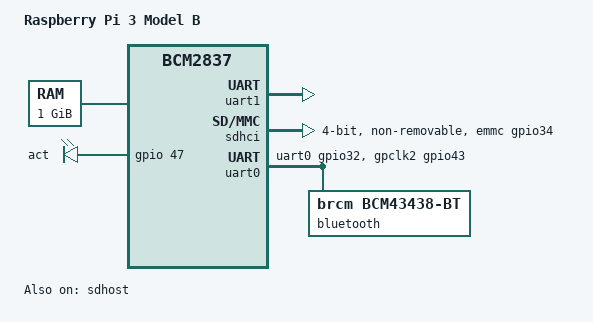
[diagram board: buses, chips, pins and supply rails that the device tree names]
/dts-v1/;
#include "bcm2837.dtsi"
#include "bcm2835-rpi.dtsi"
#include "bcm283x-rpi-smsc9514.dtsi"
#include "bcm283x-rpi-usb-host.dtsi"

/ {
	compatible = "raspberrypi,3-model-b", "brcm,bcm2837";
	model = "Raspberry Pi 3 Model B";

	chosen {
		/* BCM2835 8250 auxiliar UART instead of pl011 */
		bootargs = "console=ttyS0,115200 earlycon";
	};

	memory {
		reg = <0 0x40000000>;
	};

	leds {
		act {
			gpios = <&gpio 47 0>;
		};
	};
};

&uart1 {
	status = "okay";
};

/* SDHCI is used to control the SDIO for wireless */
&sdhci {
	pinctrl-names = "default";
	pinctrl-0 = <&emmc_gpio34>;
	status = "okay";
	bus-width = <4>;
	non-removable;
};

/* SDHOST is used to drive the SD card */
&sdhost {
	pinctrl-names = "default";
	pinctrl-0 = <&sdhost_gpio48>;
	status = "okay";
	bus-width = <4>;
};

/* UART0 is used to drive bcm43438 bluetooth controller */
&uart0 {
	pinctrl-names = "default";
	pinctrl-0 = <&uart0_gpio32 &gpclk2_gpio43>;
	status = "okay";

	bluetooth {
		compatible = "brcm,bcm43438-bt";
		max-speed = <921600>;
	};
};
